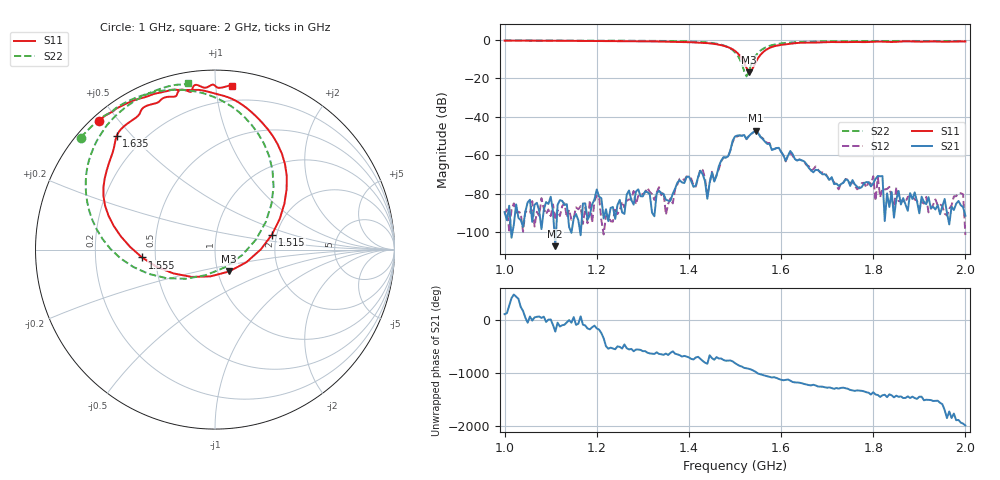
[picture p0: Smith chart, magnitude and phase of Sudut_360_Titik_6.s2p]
# Hz S RI R 50
! CMT, C1220, 16058040, 17.2.0/1
! Date: 14/08/2018 12:25:59
! Data: Format (Calibration Info)
! Freq  S11: Re/Im (F2)  S21: Re/Im (F2)  S12: Re/Im (F2)  S22: Re/Im (F2)
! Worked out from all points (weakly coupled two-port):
!   201 points, 1 GHz to 2 GHz, reference 50 ohm
!   highest |S21| = -47.04 dB at 1.545 GHz (marker M1); lowest = -107.2 dB at 1.11 GHz (marker M2)
!   lowest |S11| = -16.8 dB at 1.53 GHz (marker M3), VSWR 1.34, Z = 56.8 - j14.1 ohm
!   |S11| at or under -10 dB: 1.516 GHz to 1.549 GHz (32.81 MHz wide, 2.14 % of centre)
!   |S22| runs from -18.9 to -0.2 dB; largest |S21 - S12| = 0.00032
!   S11 on the Smith chart (normalised r, x): 1 GHz: 0.02, +0.44; 1.515 GHz: 1.89, +0.35; 1.555 GHz: 0.42, -0.04; 1.635 GHz: 0.11, +0.45; 2 GHz: 0.10, +1.11
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1e9  -0.6473 0.7146  -9.43e-06 3.23e-05  -2.16e-05 1.99e-05  -0.748 0.6239
1.11e9  -0.5441 0.7887  -3.18e-06 3.01e-06  -1.75e-05 -1.41e-05  -0.6667 0.7049
1.17e9  -0.4738 0.8221  -3.25e-06 -5.63e-05  -1.12e-05 -1.22e-05  -0.6117 0.7485
1.335e9  -0.2117 0.89  3.28e-05 0.000118  3.62e-06 0.00015  -0.3966 0.8619
1.415e9  0.0298 0.8617  0.000164 2.11e-05  0.000153 2.69e-05  -0.1625 0.8885
1.425e9  0.0744 0.848  0.000378 -0.000135  0.000429 -0.000121  -0.1162 0.8822
1.44e9  0.1339 0.8188  -2.77e-05 -6.94e-05  -5.34e-05 -6.79e-05  -0.0374 0.8624
1.45e9  0.1776 0.7878  0.000357 -3.56e-05  0.000367 -8.15e-05  0.0242 0.8369
1.455e9  0.2034 0.7662  0.000171 -0.000123  0.000181 -0.000125  0.0575 0.8193
1.5e9  0.3992 0.3363  -0.000548 -0.00306  -0.000544 -0.00284  0.3263 0.3513
1.515e9  0.3172 0.0834  -0.00314 -0.000822  -0.00312 -0.000919  0.2289 0.0566
1.53e9  0.0794 -0.1216  -0.0028 0.00147  -0.00285 0.00144  -0.051 -0.1424
1.545e9  -0.2316 -0.1328  -0.00029 0.00444  -0.000417 0.00437  -0.3704 -0.1349
1.555e9  -0.4068 -0.0437  0.00198 0.00229  0.00193 0.00244  -0.5254 -0.0496
1.635e9  -0.5474 0.634  -0.000205 -0.000709  -0.000179 -0.000723  -0.6783 0.5636
1.67e9  -0.4387 0.7364  -0.000311 -0.000188  -0.000362 -0.000246  -0.6181 0.6705
1.77e9  -0.2421 0.8516  -2.48e-05 0.000138  -2.92e-05 0.000142  -0.4624 0.8186
1.8e9  -0.2065 0.8783  6.57e-05 0.000177  0.000153 0.000244  -0.419 0.8447
1.805e9  -0.2009 0.8854  0.000221 0.000109  5.19e-05 4.24e-05  -0.4118 0.8491
1.82e9  -0.1731 0.8901  0.000285 6.25e-05  0.000109 -8.41e-05  -0.3913 0.8595
1.835e9  -0.1408 0.8797  3.94e-05 2.32e-05  9.8e-05 -0.000117  -0.3718 0.8693
2e9  0.096 0.9092  -2.57e-05 8.55e-06  -1.54e-06 -8.4e-06  -0.1494 0.9276
